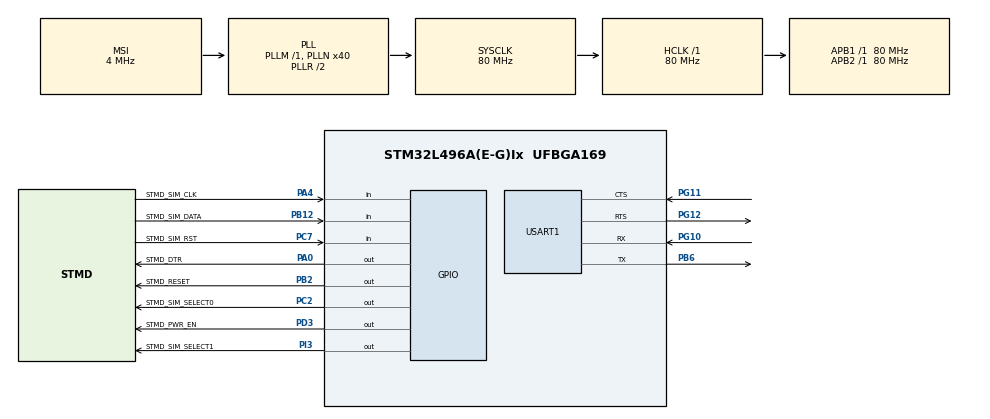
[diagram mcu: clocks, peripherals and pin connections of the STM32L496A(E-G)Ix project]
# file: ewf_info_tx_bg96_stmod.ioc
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Mcu.Family=STM32L4
Mcu.Name=STM32L496A(E-G)Ix
Mcu.Package=UFBGA169
NVIC.PriorityGroup=NVIC_PRIORITYGROUP_4
NVIC.TIM6_DAC_IRQn=true\:15\:0\:false\:false\:true\:false\:false\:true\:true
NVIC.TimeBase=TIM6_DAC_IRQn
NVIC.TimeBaseIP=TIM6
NVIC.USART1_IRQn=true\:0\:0\:false\:false\:true\:false\:true\:true\:true
PA0.GPIO_Label=STMD_DTR
PA0.Signal=GPIO_Output
PA13\ (JTMS/SWDIO).Signal=SYS_JTMS-SWDIO
PA14\ (JTCK/SWCLK).Signal=SYS_JTCK-SWCLK
PA4.GPIO_Label=STMD_SIM_CLK
PA4.Signal=GPIO_Input
PB12.GPIO_Label=STMD_SIM_DATA
PB12.Signal=GPIO_Input
PB2.GPIO_Label=STMD_RESET
PB2.PinState=GPIO_PIN_SET
PB2.Signal=GPIO_Output
PB3\ (JTDO/TRACESWO).Signal=SYS_JTDO-SWO
PB6.Mode=Asynchronous
PB6.Signal=USART1_TX
PC2.GPIO_Label=STMD_SIM_SELECT0
PC2.GPIO_PuPd=GPIO_PULLDOWN
PC2.Signal=GPIO_Output
PC7.GPIO_Label=STMD_SIM_RST
PC7.Signal=GPIO_Input
PD3.GPIO_Label=STMD_PWR_EN
PD3.GPIO_PuPd=GPIO_NOPULL
PD3.PinState=GPIO_PIN_SET
PD3.Signal=GPIO_Output
PG10.Mode=Asynchronous
PG10.Signal=USART1_RX
PG11.Mode=CTS_RTS
PG11.Signal=USART1_CTS
PG12.Mode=CTS_RTS
PG12.Signal=USART1_RTS
PI3.GPIO_Label=STMD_SIM_SELECT1
PI3.GPIO_PuPd=GPIO_PULLDOWN
PI3.Signal=GPIO_Output
ProjectManager.HeapSize=0x200
ProjectManager.StackSize=0x400
ProjectManager.TargetToolchain=STM32CubeIDE
RCC.ADCFreq_Value=40000000
RCC.AHBFreq_Value=80000000
RCC.APB1Freq_Value=80000000
RCC.APB1TimFreq_Value=80000000
RCC.APB2Freq_Value=80000000
RCC.APB2TimFreq_Value=80000000
RCC.CortexFreq_Value=80000000
RCC.HCLKFreq_Value=80000000
RCC.HSE_VALUE=8000000
RCC.HSI48_VALUE=48000000
RCC.HSI_VALUE=16000000
RCC.LSE_VALUE=32768
RCC.MSI_VALUE=4000000
RCC.PLLN=40
RCC.PLLSAI1N=20
RCC.SYSCLKFreq_VALUE=80000000
RCC.SYSCLKSource=RCC_SYSCLKSOURCE_PLLCLK
RCC.USBFreq_Value=40000000
RCC.VCOOutputFreq_Value=160000000
STMicroelectronics.X-CUBE-AZRTOS-L4.1.0.0.TX_APP_MEM_POOL_SIZE=512
STMicroelectronics.X-CUBE-AZRTOS-L4.1.0.0.ThreadXCcRTOSJjThreadXJjCore=true
STMicroelectronics.X-CUBE-AZRTOS-L4.1.0.0_IsAnAzureRtosMw=true
USART1.VirtualMode-Asynchronous=VM_ASYNC
VP_STMicroelectronics.X-CUBE-AZRTOS-L4_VS_RTOSJjThreadX_6.1.7_1.0.0.Mode=RTOSJjThreadX
VP_SYS_VS_tim6.Mode=TIM6
board=STM32L496G-DISCO

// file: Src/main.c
/* USER CODE BEGIN Header */
/**
  ******************************************************************************
  * @file           : main.c
  * @brief          : Main program body
  ******************************************************************************
  * @attention
  *
  * Copyright (c) 2022 STMicroelectronics.
  * All rights reserved.
  *
  * This software is licensed under terms that can be found in the LICENSE file
  * in the root directory of this software component.
  * If no LICENSE file comes with this software, it is provided AS-IS.
  *
  ******************************************************************************
  */
/* USER CODE END Header */
#include "main.h"
#include "app_threadx.h"

/* USER CODE BEGIN Includes */

#include <stdio.h>

#include "ewf_lib.c"
#include "ewf_platform_threadx.c"
#include "ewf_allocator.c"
#include "ewf_allocator_threadx.c"
#include "ewf_interface.c"
#include "ewf_interface_stm32_uart.c"
#include "ewf_adapter.c"
#include "ewf_adapter_api_control.c"
#include "ewf_adapter_api_info.c"
#include "ewf_adapter_api_tls_basic.c"
#include "ewf_adapter_api_mqtt_basic.c"
#include "ewf_adapter_api_tcp.c"
#include "ewf_adapter_api_udp.c"
#include "ewf_adapter_api_modem.c"
#include "ewf_adapter_api_modem_general.c"
#include "ewf_adapter_api_modem_network_service.c"
#include "ewf_adapter_api_modem_packet_domain.c"
#include "ewf_adapter_api_modem_sim_utility.c"
#include "ewf_adapter_api_modem_sms.c"
#include "ewf_adapter_quectel_bg96.c"
#include "ewf_example.config.h"

/* USER CODE END Includes */

/* USER CODE BEGIN PTD */
#if defined ( __GNUC__) && !defined(__clang__)
/* With GCC, small printf (option LD Linker->Libraries->Small printf
   set to 'Yes') calls __io_putchar() */
#define PUTCHAR_PROTOTYPE int __io_putchar(int ch)
#else
#define PUTCHAR_PROTOTYPE int fputc(int ch, FILE *f)
#endif /* __GNUC__ */

/* USER CODE END PTD */

UART_HandleTypeDef huart1;

void SystemClock_Config(void);
static void MX_GPIO_Init(void);
static void MX_USART1_UART_Init(void);

/* USER CODE BEGIN 0 */

/**
* @brief  Retargets the C library printf function to the USART.
* @param  None
* @retval None
*/

PUTCHAR_PROTOTYPE
{
    /* Place your implementation of fputc here */
    /* e.g. write a character to the USART1 and Loop until the end of transmission */
    ITM_SendChar(ch);
    return ch;
}

void ewf_adapter_quectel_bg96_stmod_power_on()
{
    EWF_LOG("\n\nStarting the STMod+ BG96 modem...\n");

    /* Clear the reset pin */
	HAL_GPIO_WritePin(STMD_RESET_GPIO_Port, STMD_RESET_Pin, GPIO_PIN_RESET);

    /* Turn OFF the module to power cycle it */
    HAL_GPIO_WritePin(STMD_PWR_EN_GPIO_Port, STMD_PWR_EN_Pin, GPIO_PIN_RESET);

    /* Wait for one second */
    ewf_platform_sleep(EWF_PLATFORM_TICKS_PER_SECOND * 1);

    /* Power ON */
    HAL_GPIO_WritePin(STMD_PWR_EN_GPIO_Port, STMD_PWR_EN_Pin, GPIO_PIN_SET);

    /* Wait for the modem to reach ready state. "Some time" according to the documentation */
    ewf_platform_sleep(EWF_PLATFORM_TICKS_PER_SECOND * 7);

    /* Initialize the UART */
    MX_USART1_UART_Init();

    EWF_LOG("Ready!\n");
}

void thread_sample_entry(ULONG thread_input)
{
    ewf_result result;

    ewf_allocator* message_allocator_ptr = NULL;
    ewf_interface* interface_ptr = NULL;
    ewf_adapter* adapter_ptr = NULL;

    EWF_ALLOCATOR_THREADX_STATIC_DECLARE(message_allocator_ptr, message_allocator, EWF_CONFIG_MESSAGE_ALLOCATOR_BLOCK_COUNT, EWF_CONFIG_MESSAGE_ALLOCATOR_BLOCK_SIZE);
    EWF_INTERFACE_STM32_UART_STATIC_DECLARE(interface_ptr, stm32_uart_port, &huart1);
    EWF_ADAPTER_QUECTEL_BG96_STATIC_DECLARE(adapter_ptr, quectel_bg96, message_allocator_ptr, NULL, interface_ptr);

    /* Power on the STMOD+ BG96 modem and select plastic SIM interface */
    ewf_adapter_quectel_bg96_stmod_power_on();

    // Start the adapter
    if (ewf_result_failed(result = ewf_adapter_start(adapter_ptr)))
    {
        EWF_LOG_ERROR("Failed to start the adapter, ewf_result %d.\n", result);
        return;
    }

    // Set the SIM PIN
    if (ewf_result_failed(result = ewf_adapter_modem_sim_pin_enter(adapter_ptr, EWF_CONFIG_SIM_PIN)))
    {
        EWF_LOG_ERROR("Failed to the SIM PIN: result 0x%08x.", result);
        exit(result);
    }

    // Set the ME functionality
    if (ewf_result_failed(result = ewf_adapter_modem_functionality_set(adapter_ptr, "1")))
    {
        EWF_LOG_ERROR("Failed to the ME functionality: result 0x%08x.", result);
        exit(result);
    }

    // Run the adapter tests
    if (ewf_result_failed(result = ewf_adapter_info(adapter_ptr)))
    {
        EWF_LOG_ERROR("The info function returned an error, ewf_result %d.\n", result);
        return;
    }

    EWF_LOG("\nDone!\n");

    // Stay here forever
    while (1)
    {
        EWF_LOG(".");
        ewf_platform_sleep(EWF_PLATFORM_TICKS_PER_SECOND);
    }
}
/* USER CODE END 0 */

int main(void)
{

  /* MCU Configuration--------------------------------------------------------*/

  /* Reset of all peripherals, Initializes the Flash interface and the Systick. */
  HAL_Init();

  /* Configure the system clock */
  SystemClock_Config();

  /* Initialize all configured peripherals */
  MX_GPIO_Init();

  MX_ThreadX_Init();

  /* We should never get here as control is now taken by the scheduler */
  /* Infinite loop */
  while (1)
  {

  }
}

void SystemClock_Config(void)
{
  RCC_OscInitTypeDef RCC_OscInitStruct = {0};
  RCC_ClkInitTypeDef RCC_ClkInitStruct = {0};

  /** Configure the main internal regulator output voltage
  */
  if (HAL_PWREx_ControlVoltageScaling(PWR_REGULATOR_VOLTAGE_SCALE1) != HAL_OK)
  {
    Error_Handler();
  }

  /** Initializes the RCC Oscillators according to the specified parameters
  * in the RCC_OscInitTypeDef structure.
  */
  RCC_OscInitStruct.OscillatorType = RCC_OSCILLATORTYPE_MSI;
  RCC_OscInitStruct.MSIState = RCC_MSI_ON;
  RCC_OscInitStruct.MSICalibrationValue = 0;
  RCC_OscInitStruct.MSIClockRange = RCC_MSIRANGE_6;
  RCC_OscInitStruct.PLL.PLLState = RCC_PLL_ON;
  RCC_OscInitStruct.PLL.PLLSource = RCC_PLLSOURCE_MSI;
  RCC_OscInitStruct.PLL.PLLM = 1;
  RCC_OscInitStruct.PLL.PLLN = 40;
  RCC_OscInitStruct.PLL.PLLP = RCC_PLLP_DIV2;
  RCC_OscInitStruct.PLL.PLLQ = RCC_PLLQ_DIV2;
  RCC_OscInitStruct.PLL.PLLR = RCC_PLLR_DIV2;
  if (HAL_RCC_OscConfig(&RCC_OscInitStruct) != HAL_OK)
  {
    Error_Handler();
  }

  /** Initializes the CPU, AHB and APB buses clocks
  */
  RCC_ClkInitStruct.ClockType = RCC_CLOCKTYPE_HCLK|RCC_CLOCKTYPE_SYSCLK
                              |RCC_CLOCKTYPE_PCLK1|RCC_CLOCKTYPE_PCLK2;
  RCC_ClkInitStruct.SYSCLKSource = RCC_SYSCLKSOURCE_PLLCLK;
  RCC_ClkInitStruct.AHBCLKDivider = RCC_SYSCLK_DIV1;
  RCC_ClkInitStruct.APB1CLKDivider = RCC_HCLK_DIV1;
  RCC_ClkInitStruct.APB2CLKDivider = RCC_HCLK_DIV1;

  if (HAL_RCC_ClockConfig(&RCC_ClkInitStruct, FLASH_LATENCY_4) != HAL_OK)
  {
    Error_Handler();
  }
}

static void MX_USART1_UART_Init(void)
{

  huart1.Instance = USART1;
  huart1.Init.BaudRate = 115200;
  huart1.Init.WordLength = UART_WORDLENGTH_8B;
  huart1.Init.StopBits = UART_STOPBITS_1;
  huart1.Init.Parity = UART_PARITY_NONE;
  huart1.Init.Mode = UART_MODE_TX_RX;
  huart1.Init.HwFlowCtl = UART_HWCONTROL_RTS_CTS;
  huart1.Init.OverSampling = UART_OVERSAMPLING_16;
  huart1.Init.OneBitSampling = UART_ONE_BIT_SAMPLE_DISABLE;
  huart1.AdvancedInit.AdvFeatureInit = UART_ADVFEATURE_NO_INIT;
  if (HAL_UART_Init(&huart1) != HAL_OK)
  {
    Error_Handler();
  }

}

static void MX_GPIO_Init(void)
{
  GPIO_InitTypeDef GPIO_InitStruct = {0};

  /* GPIO Ports Clock Enable */
  __HAL_RCC_GPIOB_CLK_ENABLE();
  __HAL_RCC_GPIOA_CLK_ENABLE();
  __HAL_RCC_GPIOI_CLK_ENABLE();
  __HAL_RCC_GPIOG_CLK_ENABLE();
  HAL_PWREx_EnableVddIO2();
  __HAL_RCC_GPIOD_CLK_ENABLE();
  __HAL_RCC_GPIOC_CLK_ENABLE();

  /*Configure GPIO pin Output Level */
  HAL_GPIO_WritePin(STMD_SIM_SELECT1_GPIO_Port, STMD_SIM_SELECT1_Pin, GPIO_PIN_RESET);

  /*Configure GPIO pin Output Level */
  HAL_GPIO_WritePin(STMD_PWR_EN_GPIO_Port, STMD_PWR_EN_Pin, GPIO_PIN_SET);

  /*Configure GPIO pin Output Level */
  HAL_GPIO_WritePin(STMD_SIM_SELECT0_GPIO_Port, STMD_SIM_SELECT0_Pin, GPIO_PIN_RESET);

  /*Configure GPIO pin Output Level */
  HAL_GPIO_WritePin(STMD_DTR_GPIO_Port, STMD_DTR_Pin, GPIO_PIN_RESET);

  /*Configure GPIO pin Output Level */
  HAL_GPIO_WritePin(STMD_RESET_GPIO_Port, STMD_RESET_Pin, GPIO_PIN_SET);

  /*Configure GPIO pin : STMD_SIM_SELECT1_Pin */
  GPIO_InitStruct.Pin = STMD_SIM_SELECT1_Pin;
  GPIO_InitStruct.Mode = GPIO_MODE_OUTPUT_PP;
  GPIO_InitStruct.Pull = GPIO_PULLDOWN;
  GPIO_InitStruct.Speed = GPIO_SPEED_FREQ_LOW;
  HAL_GPIO_Init(STMD_SIM_SELECT1_GPIO_Port, &GPIO_InitStruct);

  /*Configure GPIO pin : STMD_PWR_EN_Pin */
  GPIO_InitStruct.Pin = STMD_PWR_EN_Pin;
  GPIO_InitStruct.Mode = GPIO_MODE_OUTPUT_PP;
  GPIO_InitStruct.Pull = GPIO_NOPULL;
  GPIO_InitStruct.Speed = GPIO_SPEED_FREQ_LOW;
  HAL_GPIO_Init(STMD_PWR_EN_GPIO_Port, &GPIO_InitStruct);

  /*Configure GPIO pin : STMD_SIM_RST_Pin */
  GPIO_InitStruct.Pin = STMD_SIM_RST_Pin;
  GPIO_InitStruct.Mode = GPIO_MODE_INPUT;
  GPIO_InitStruct.Pull = GPIO_NOPULL;
  HAL_GPIO_Init(STMD_SIM_RST_GPIO_Port, &GPIO_InitStruct);

  /*Configure GPIO pin : STMD_SIM_SELECT0_Pin */
  GPIO_InitStruct.Pin = STMD_SIM_SELECT0_Pin;
  GPIO_InitStruct.Mode = GPIO_MODE_OUTPUT_PP;
  GPIO_InitStruct.Pull = GPIO_PULLDOWN;
  GPIO_InitStruct.Speed = GPIO_SPEED_FREQ_LOW;
  HAL_GPIO_Init(STMD_SIM_SELECT0_GPIO_Port, &GPIO_InitStruct);

  /*Configure GPIO pin : STMD_DTR_Pin */
  GPIO_InitStruct.Pin = STMD_DTR_Pin;
  GPIO_InitStruct.Mode = GPIO_MODE_OUTPUT_PP;
  GPIO_InitStruct.Pull = GPIO_NOPULL;
  GPIO_InitStruct.Speed = GPIO_SPEED_FREQ_LOW;
  HAL_GPIO_Init(STMD_DTR_GPIO_Port, &GPIO_InitStruct);

  /*Configure GPIO pin : STMD_SIM_CLK_Pin */
  GPIO_InitStruct.Pin = STMD_SIM_CLK_Pin;
  GPIO_InitStruct.Mode = GPIO_MODE_INPUT;
  GPIO_InitStruct.Pull = GPIO_NOPULL;
  HAL_GPIO_Init(STMD_SIM_CLK_GPIO_Port, &GPIO_InitStruct);

  /*Configure GPIO pin : STMD_RESET_Pin */
  GPIO_InitStruct.Pin = STMD_RESET_Pin;
  GPIO_InitStruct.Mode = GPIO_MODE_OUTPUT_PP;
  GPIO_InitStruct.Pull = GPIO_NOPULL;
  GPIO_InitStruct.Speed = GPIO_SPEED_FREQ_LOW;
  HAL_GPIO_Init(STMD_RESET_GPIO_Port, &GPIO_InitStruct);

  /*Configure GPIO pin : STMD_SIM_DATA_Pin */
  GPIO_InitStruct.Pin = STMD_SIM_DATA_Pin;
  GPIO_InitStruct.Mode = GPIO_MODE_INPUT;
  GPIO_InitStruct.Pull = GPIO_NOPULL;
  HAL_GPIO_Init(STMD_SIM_DATA_GPIO_Port, &GPIO_InitStruct);

}

void HAL_TIM_PeriodElapsedCallback(TIM_HandleTypeDef *htim)
{
  if (htim->Instance == TIM6) {
    HAL_IncTick();
  }
}

void Error_Handler(void)
{
  __disable_irq();
  while (1)
  {
  }
}
